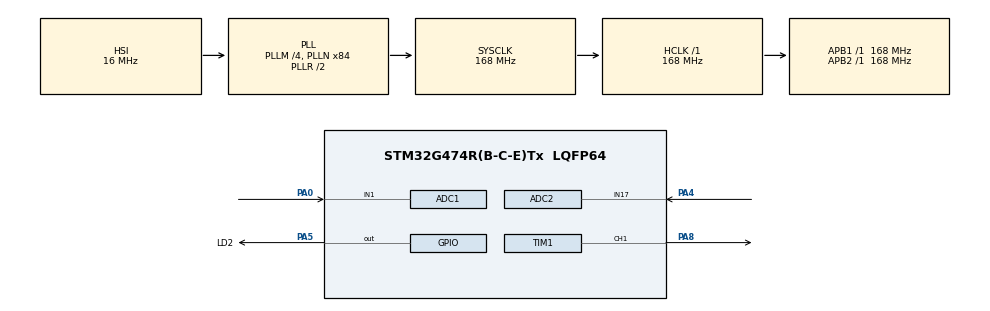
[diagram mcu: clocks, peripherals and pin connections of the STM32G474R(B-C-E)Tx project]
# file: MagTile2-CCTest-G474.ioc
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ADC1.Channel-0\#ChannelRegularConversion=ADC_CHANNEL_1
ADC1.ClockPrescaler=ADC_CLOCK_ASYNC_DIV1
ADC1.ContinuousConvMode=DISABLE
ADC1.DMAContinuousRequests=DISABLE
ADC1.EnableInjectedConversion=DISABLE
ADC1.ExternalTrigConv=ADC_EXTERNALTRIG_T3_TRGO
ADC1.NbrOfConversion=1
ADC1.NbrOfConversionFlag=1
ADC1.OffsetNumber-0\#ChannelRegularConversion=ADC_OFFSET_NONE
ADC1.Overrun=ADC_OVR_DATA_OVERWRITTEN
ADC1.OversamplingMode=ENABLE
ADC1.Rank-0\#ChannelRegularConversion=1
ADC1.Ratio=ADC_OVERSAMPLING_RATIO_256
ADC1.RightBitShift=ADC_RIGHTBITSHIFT_4
ADC1.SamplingTime-0\#ChannelRegularConversion=ADC_SAMPLETIME_247CYCLES_5
ADC1.master=1
ADC2.Channel-1\#ChannelRegularConversion=ADC_CHANNEL_17
ADC2.ClockPrescaler=ADC_CLOCK_ASYNC_DIV1
ADC2.NbrOfConversion=1
ADC2.NbrOfConversionFlag=1
ADC2.OffsetNumber-1\#ChannelRegularConversion=ADC_OFFSET_NONE
ADC2.OversamplingMode=ENABLE
ADC2.Rank-1\#ChannelRegularConversion=1
ADC2.Ratio=ADC_OVERSAMPLING_RATIO_256
ADC2.RightBitShift=ADC_RIGHTBITSHIFT_4
ADC2.SamplingTime-1\#ChannelRegularConversion=ADC_SAMPLETIME_640CYCLES_5
Mcu.Family=STM32G4
Mcu.Name=STM32G474R(B-C-E)Tx
Mcu.Package=LQFP64
NUCLEO-G474RE.BUTTON=1
NUCLEO-G474RE.LD2=true
NUCLEO-G474RE.VCP=true
NVIC.ADC1_2_IRQn=true\:0\:0\:false\:false\:true\:true\:true\:true
NVIC.PriorityGroup=NVIC_PRIORITYGROUP_4
NVIC.TIM6_DAC_IRQn=true\:0\:0\:false\:false\:true\:true\:true\:true
PA0.Mode=IN1-Single-Ended
PA0.Signal=ADC1_IN1
PA13.GPIO_Label=T_SWDIO
PA13.Signal=SYS_JTMS-SWDIO
PA14.GPIO_Label=T_SWCLK
PA14.Signal=SYS_JTCK-SWCLK
PA4.Mode=IN17-Single-Ended
PA4.Signal=ADC2_IN17
PA5.GPIO_Label=LD2
PA5.Signal=GPIO_Output
PA8.Signal=S_TIM1_CH1
PB3.GPIO_Label=T_SWO
PB3.Signal=SYS_JTDO-SWO
PC14-OSC32_IN.GPIO_Label=RCC_OSC32_IN
PC14-OSC32_IN.Signal=RCC_OSC32_IN
PC15-OSC32_OUT.GPIO_Label=RCC_OSC32_OUT
PC15-OSC32_OUT.Signal=RCC_OSC32_OUT
PF0-OSC_IN.GPIO_Label=RCC_OSC_IN
PF0-OSC_IN.Signal=RCC_OSC_IN
PF1-OSC_OUT.GPIO_Label=RCC_OSC_OUT
PF1-OSC_OUT.Signal=RCC_OSC_OUT
ProjectManager.HeapSize=0x200
ProjectManager.StackSize=0x400
ProjectManager.TargetToolchain=STM32CubeIDE
RCC.ADC12CLockSelection=RCC_ADC12CLKSOURCE_PLL
RCC.ADC12Freq_Value=56000000
RCC.ADC345Freq_Value=168000000
RCC.AHBFreq_Value=168000000
RCC.APB1Freq_Value=168000000
RCC.APB1TimFreq_Value=168000000
RCC.APB2Freq_Value=168000000
RCC.APB2TimFreq_Value=168000000
RCC.CortexFreq_Value=168000000
RCC.EXTERNAL_CLOCK_VALUE=12288000
RCC.HCLKFreq_Value=168000000
RCC.HSE_VALUE=24000000
RCC.HSI48_VALUE=48000000
RCC.HSI_VALUE=16000000
RCC.LSE_VALUE=32768
RCC.PLLM=RCC_PLLM_DIV4
RCC.PLLN=84
RCC.PLLP=RCC_PLLP_DIV6
RCC.RTCClockSelection=RCC_RTCCLKSOURCE_LSE
RCC.SYSCLKFreq_VALUE=168000000
RCC.SYSCLKSource=RCC_SYSCLKSOURCE_PLLCLK
RCC.USBFreq_Value=168000000
RCC.VCOOutputFreq_Value=336000000
SH.S_TIM1_CH1.0=TIM1_CH1,PWM Generation1 CH1
TIM1.Channel-PWM\ Generation1\ CH1=TIM_CHANNEL_1
TIM1.OCFastMode_PWM-PWM\ Generation1\ CH1=TIM_OCFAST_ENABLE
TIM1.PeriodNoDither=1600
TIM1.Prescaler=0
TIM1.PulseNoDither_1=10
TIM3.PeriodNoDither=100
TIM3.Prescaler=168
TIM3.TIM_MasterOutputTrigger=TIM_TRGO_UPDATE
TIM4.PeriodNoDither=1000
TIM4.Prescaler=168
TIM4.TIM_MasterOutputTrigger=TIM_TRGO_UPDATE
TIM6.PeriodNoDither=10000
TIM6.Prescaler=1680
TIM6.TIM_MasterOutputTrigger=TIM_TRGO_UPDATE
VP_SYS_VS_DBSignals.Mode=DisableDeadBatterySignals
VP_TIM1_VS_ClockSourceINT.Mode=Internal
VP_TIM3_VS_ClockSourceINT.Mode=Internal
VP_TIM4_VS_ClockSourceINT.Mode=Internal
VP_TIM6_VS_ClockSourceINT.Mode=Enable_Timer
board=NUCLEO-G474RE

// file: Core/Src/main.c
/* USER CODE BEGIN Header */
/**
  ******************************************************************************
  * @file           : main.c
  * @brief          : Main program body
  ******************************************************************************
  * @attention
  *
  * Copyright (c) 2025 STMicroelectronics.
  * All rights reserved.
  *
  * This software is licensed under terms that can be found in the LICENSE file
  * in the root directory of this software component.
  * If no LICENSE file comes with this software, it is provided AS-IS.
  *
  ******************************************************************************
  */
/* USER CODE END Header */
#include "main.h"

/* USER CODE BEGIN PD */
//#define ADC_OVERSAMPLE 50
//#define ADC_BUFFER_SIZE 2*ADC_OVERSAMPLE
#define PID_I_CLAMP 0.1f
/* USER CODE END PD */

ADC_HandleTypeDef hadc1;
ADC_HandleTypeDef hadc2;

TIM_HandleTypeDef htim1;
TIM_HandleTypeDef htim3;
TIM_HandleTypeDef htim4;
TIM_HandleTypeDef htim6;

/* USER CODE BEGIN PV */

//volatile uint16_t adc_buffer[ADC_BUFFER_SIZE];
//float averaged_result;
float current_reading;
float opamp_output;
float current_setpoint = 0.190f;
uint8_t ctrl_out = 0;
volatile uint32_t adc_sample;
volatile uint32_t temp_adc_sample;
volatile float temp_adc_voltage;
volatile float temp_value;

float pid_error = 0;
float pid_error_integral = 0;
float pid_pwm_change = 0;
float pid_pwm_output = 0;

float Kp = 0.1f;
float Ki = 0.0035f;

/* USER CODE END PV */

void SystemClock_Config(void);
static void MX_GPIO_Init(void);
static void MX_ADC1_Init(void);
static void MX_TIM3_Init(void);
static void MX_TIM1_Init(void);
static void MX_TIM4_Init(void);
static void MX_ADC2_Init(void);
static void MX_TIM6_Init(void);

int main(void)
{

  /* MCU Configuration--------------------------------------------------------*/

  /* Reset of all peripherals, Initializes the Flash interface and the Systick. */
  HAL_Init();

  /* Configure the system clock */
  SystemClock_Config();

  /* Initialize all configured peripherals */
  MX_GPIO_Init();
  MX_ADC1_Init();
  MX_TIM3_Init();
  MX_TIM1_Init();
  MX_TIM4_Init();
  MX_ADC2_Init();
  MX_TIM6_Init();
  /* USER CODE BEGIN 2 */

//  HAL_ADC_Start_DMA(&hadc1, (uint32_t*)adc_buffer, ADC_BUFFER_SIZE);
  HAL_ADCEx_Calibration_Start(&hadc1, ADC_SINGLE_ENDED);
  HAL_ADCEx_Calibration_Start(&hadc2, ADC_SINGLE_ENDED);
  HAL_ADC_Start_IT(&hadc1);
  HAL_ADC_Start(&hadc2);
  HAL_TIM_Base_Start(&htim3);
  HAL_TIM_Base_Start_IT(&htim6);
  HAL_TIM_PWM_Start(&htim1, TIM_CHANNEL_1);

  /* USER CODE END 2 */

  /* Infinite loop */
  while (1)
  {

  }
}

void SystemClock_Config(void)
{
  RCC_OscInitTypeDef RCC_OscInitStruct = {0};
  RCC_ClkInitTypeDef RCC_ClkInitStruct = {0};

  /** Configure the main internal regulator output voltage
  */
  HAL_PWREx_ControlVoltageScaling(PWR_REGULATOR_VOLTAGE_SCALE1_BOOST);

  /** Initializes the RCC Oscillators according to the specified parameters
  * in the RCC_OscInitTypeDef structure.
  */
  RCC_OscInitStruct.OscillatorType = RCC_OSCILLATORTYPE_HSI;
  RCC_OscInitStruct.HSIState = RCC_HSI_ON;
  RCC_OscInitStruct.HSICalibrationValue = RCC_HSICALIBRATION_DEFAULT;
  RCC_OscInitStruct.PLL.PLLState = RCC_PLL_ON;
  RCC_OscInitStruct.PLL.PLLSource = RCC_PLLSOURCE_HSI;
  RCC_OscInitStruct.PLL.PLLM = RCC_PLLM_DIV4;
  RCC_OscInitStruct.PLL.PLLN = 84;
  RCC_OscInitStruct.PLL.PLLP = RCC_PLLP_DIV6;
  RCC_OscInitStruct.PLL.PLLQ = RCC_PLLQ_DIV2;
  RCC_OscInitStruct.PLL.PLLR = RCC_PLLR_DIV2;
  if (HAL_RCC_OscConfig(&RCC_OscInitStruct) != HAL_OK)
  {
    Error_Handler();
  }

  /** Initializes the CPU, AHB and APB buses clocks
  */
  RCC_ClkInitStruct.ClockType = RCC_CLOCKTYPE_HCLK|RCC_CLOCKTYPE_SYSCLK
                              |RCC_CLOCKTYPE_PCLK1|RCC_CLOCKTYPE_PCLK2;
  RCC_ClkInitStruct.SYSCLKSource = RCC_SYSCLKSOURCE_PLLCLK;
  RCC_ClkInitStruct.AHBCLKDivider = RCC_SYSCLK_DIV1;
  RCC_ClkInitStruct.APB1CLKDivider = RCC_HCLK_DIV1;
  RCC_ClkInitStruct.APB2CLKDivider = RCC_HCLK_DIV1;

  if (HAL_RCC_ClockConfig(&RCC_ClkInitStruct, FLASH_LATENCY_4) != HAL_OK)
  {
    Error_Handler();
  }
}

static void MX_ADC1_Init(void)
{

  ADC_MultiModeTypeDef multimode = {0};
  ADC_ChannelConfTypeDef sConfig = {0};

  /** Common config
  */
  hadc1.Instance = ADC1;
  hadc1.Init.ClockPrescaler = ADC_CLOCK_ASYNC_DIV1;
  hadc1.Init.Resolution = ADC_RESOLUTION_12B;
  hadc1.Init.DataAlign = ADC_DATAALIGN_RIGHT;
  hadc1.Init.GainCompensation = 0;
  hadc1.Init.ScanConvMode = ADC_SCAN_DISABLE;
  hadc1.Init.EOCSelection = ADC_EOC_SINGLE_CONV;
  hadc1.Init.LowPowerAutoWait = DISABLE;
  hadc1.Init.ContinuousConvMode = DISABLE;
  hadc1.Init.NbrOfConversion = 1;
  hadc1.Init.DiscontinuousConvMode = DISABLE;
  hadc1.Init.ExternalTrigConv = ADC_EXTERNALTRIG_T3_TRGO;
  hadc1.Init.ExternalTrigConvEdge = ADC_EXTERNALTRIGCONVEDGE_RISING;
  hadc1.Init.DMAContinuousRequests = DISABLE;
  hadc1.Init.Overrun = ADC_OVR_DATA_OVERWRITTEN;
  hadc1.Init.OversamplingMode = ENABLE;
  hadc1.Init.Oversampling.Ratio = ADC_OVERSAMPLING_RATIO_256;
  hadc1.Init.Oversampling.RightBitShift = ADC_RIGHTBITSHIFT_4;
  hadc1.Init.Oversampling.TriggeredMode = ADC_TRIGGEREDMODE_SINGLE_TRIGGER;
  hadc1.Init.Oversampling.OversamplingStopReset = ADC_REGOVERSAMPLING_CONTINUED_MODE;
  if (HAL_ADC_Init(&hadc1) != HAL_OK)
  {
    Error_Handler();
  }

  /** Configure the ADC multi-mode
  */
  multimode.Mode = ADC_MODE_INDEPENDENT;
  if (HAL_ADCEx_MultiModeConfigChannel(&hadc1, &multimode) != HAL_OK)
  {
    Error_Handler();
  }

  /** Configure Regular Channel
  */
  sConfig.Channel = ADC_CHANNEL_1;
  sConfig.Rank = ADC_REGULAR_RANK_1;
  sConfig.SamplingTime = ADC_SAMPLETIME_247CYCLES_5;
  sConfig.SingleDiff = ADC_SINGLE_ENDED;
  sConfig.OffsetNumber = ADC_OFFSET_NONE;
  sConfig.Offset = 0;
  if (HAL_ADC_ConfigChannel(&hadc1, &sConfig) != HAL_OK)
  {
    Error_Handler();
  }

}

static void MX_ADC2_Init(void)
{

  ADC_ChannelConfTypeDef sConfig = {0};

  /** Common config
  */
  hadc2.Instance = ADC2;
  hadc2.Init.ClockPrescaler = ADC_CLOCK_ASYNC_DIV1;
  hadc2.Init.Resolution = ADC_RESOLUTION_12B;
  hadc2.Init.DataAlign = ADC_DATAALIGN_RIGHT;
  hadc2.Init.GainCompensation = 0;
  hadc2.Init.ScanConvMode = ADC_SCAN_DISABLE;
  hadc2.Init.EOCSelection = ADC_EOC_SINGLE_CONV;
  hadc2.Init.LowPowerAutoWait = DISABLE;
  hadc2.Init.ContinuousConvMode = DISABLE;
  hadc2.Init.NbrOfConversion = 1;
  hadc2.Init.DiscontinuousConvMode = DISABLE;
  hadc2.Init.ExternalTrigConv = ADC_SOFTWARE_START;
  hadc2.Init.ExternalTrigConvEdge = ADC_EXTERNALTRIGCONVEDGE_NONE;
  hadc2.Init.DMAContinuousRequests = DISABLE;
  hadc2.Init.Overrun = ADC_OVR_DATA_PRESERVED;
  hadc2.Init.OversamplingMode = ENABLE;
  hadc2.Init.Oversampling.Ratio = ADC_OVERSAMPLING_RATIO_256;
  hadc2.Init.Oversampling.RightBitShift = ADC_RIGHTBITSHIFT_4;
  hadc2.Init.Oversampling.TriggeredMode = ADC_TRIGGEREDMODE_SINGLE_TRIGGER;
  hadc2.Init.Oversampling.OversamplingStopReset = ADC_REGOVERSAMPLING_CONTINUED_MODE;
  if (HAL_ADC_Init(&hadc2) != HAL_OK)
  {
    Error_Handler();
  }

  /** Configure Regular Channel
  */
  sConfig.Channel = ADC_CHANNEL_17;
  sConfig.Rank = ADC_REGULAR_RANK_1;
  sConfig.SamplingTime = ADC_SAMPLETIME_640CYCLES_5;
  sConfig.SingleDiff = ADC_SINGLE_ENDED;
  sConfig.OffsetNumber = ADC_OFFSET_NONE;
  sConfig.Offset = 0;
  if (HAL_ADC_ConfigChannel(&hadc2, &sConfig) != HAL_OK)
  {
    Error_Handler();
  }

}

static void MX_TIM1_Init(void)
{

  TIM_ClockConfigTypeDef sClockSourceConfig = {0};
  TIM_MasterConfigTypeDef sMasterConfig = {0};
  TIM_OC_InitTypeDef sConfigOC = {0};
  TIM_BreakDeadTimeConfigTypeDef sBreakDeadTimeConfig = {0};

  htim1.Instance = TIM1;
  htim1.Init.Prescaler = 0;
  htim1.Init.CounterMode = TIM_COUNTERMODE_UP;
  htim1.Init.Period = 1600;
  htim1.Init.ClockDivision = TIM_CLOCKDIVISION_DIV1;
  htim1.Init.RepetitionCounter = 0;
  htim1.Init.AutoReloadPreload = TIM_AUTORELOAD_PRELOAD_DISABLE;
  if (HAL_TIM_Base_Init(&htim1) != HAL_OK)
  {
    Error_Handler();
  }
  sClockSourceConfig.ClockSource = TIM_CLOCKSOURCE_INTERNAL;
  if (HAL_TIM_ConfigClockSource(&htim1, &sClockSourceConfig) != HAL_OK)
  {
    Error_Handler();
  }
  if (HAL_TIM_PWM_Init(&htim1) != HAL_OK)
  {
    Error_Handler();
  }
  sMasterConfig.MasterOutputTrigger = TIM_TRGO_RESET;
  sMasterConfig.MasterOutputTrigger2 = TIM_TRGO2_RESET;
  sMasterConfig.MasterSlaveMode = TIM_MASTERSLAVEMODE_DISABLE;
  if (HAL_TIMEx_MasterConfigSynchronization(&htim1, &sMasterConfig) != HAL_OK)
  {
    Error_Handler();
  }
  sConfigOC.OCMode = TIM_OCMODE_PWM1;
  sConfigOC.Pulse = 10;
  sConfigOC.OCPolarity = TIM_OCPOLARITY_HIGH;
  sConfigOC.OCNPolarity = TIM_OCNPOLARITY_HIGH;
  sConfigOC.OCFastMode = TIM_OCFAST_ENABLE;
  sConfigOC.OCIdleState = TIM_OCIDLESTATE_RESET;
  sConfigOC.OCNIdleState = TIM_OCNIDLESTATE_RESET;
  if (HAL_TIM_PWM_ConfigChannel(&htim1, &sConfigOC, TIM_CHANNEL_1) != HAL_OK)
  {
    Error_Handler();
  }
  sBreakDeadTimeConfig.OffStateRunMode = TIM_OSSR_DISABLE;
  sBreakDeadTimeConfig.OffStateIDLEMode = TIM_OSSI_DISABLE;
  sBreakDeadTimeConfig.LockLevel = TIM_LOCKLEVEL_OFF;
  sBreakDeadTimeConfig.DeadTime = 0;
  sBreakDeadTimeConfig.BreakState = TIM_BREAK_DISABLE;
  sBreakDeadTimeConfig.BreakPolarity = TIM_BREAKPOLARITY_HIGH;
  sBreakDeadTimeConfig.BreakFilter = 0;
  sBreakDeadTimeConfig.BreakAFMode = TIM_BREAK_AFMODE_INPUT;
  sBreakDeadTimeConfig.Break2State = TIM_BREAK2_DISABLE;
  sBreakDeadTimeConfig.Break2Polarity = TIM_BREAK2POLARITY_HIGH;
  sBreakDeadTimeConfig.Break2Filter = 0;
  sBreakDeadTimeConfig.Break2AFMode = TIM_BREAK_AFMODE_INPUT;
  sBreakDeadTimeConfig.AutomaticOutput = TIM_AUTOMATICOUTPUT_DISABLE;
  if (HAL_TIMEx_ConfigBreakDeadTime(&htim1, &sBreakDeadTimeConfig) != HAL_OK)
  {
    Error_Handler();
  }
  HAL_TIM_MspPostInit(&htim1);

}

static void MX_TIM3_Init(void)
{

  TIM_ClockConfigTypeDef sClockSourceConfig = {0};
  TIM_MasterConfigTypeDef sMasterConfig = {0};

  htim3.Instance = TIM3;
  htim3.Init.Prescaler = 168;
  htim3.Init.CounterMode = TIM_COUNTERMODE_UP;
  htim3.Init.Period = 100;
  htim3.Init.ClockDivision = TIM_CLOCKDIVISION_DIV1;
  htim3.Init.AutoReloadPreload = TIM_AUTORELOAD_PRELOAD_DISABLE;
  if (HAL_TIM_Base_Init(&htim3) != HAL_OK)
  {
    Error_Handler();
  }
  sClockSourceConfig.ClockSource = TIM_CLOCKSOURCE_INTERNAL;
  if (HAL_TIM_ConfigClockSource(&htim3, &sClockSourceConfig) != HAL_OK)
  {
    Error_Handler();
  }
  sMasterConfig.MasterOutputTrigger = TIM_TRGO_UPDATE;
  sMasterConfig.MasterSlaveMode = TIM_MASTERSLAVEMODE_DISABLE;
  if (HAL_TIMEx_MasterConfigSynchronization(&htim3, &sMasterConfig) != HAL_OK)
  {
    Error_Handler();
  }

}

static void MX_TIM4_Init(void)
{

  TIM_ClockConfigTypeDef sClockSourceConfig = {0};
  TIM_MasterConfigTypeDef sMasterConfig = {0};

  htim4.Instance = TIM4;
  htim4.Init.Prescaler = 168;
  htim4.Init.CounterMode = TIM_COUNTERMODE_UP;
  htim4.Init.Period = 1000;
  htim4.Init.ClockDivision = TIM_CLOCKDIVISION_DIV1;
  htim4.Init.AutoReloadPreload = TIM_AUTORELOAD_PRELOAD_DISABLE;
  if (HAL_TIM_Base_Init(&htim4) != HAL_OK)
  {
    Error_Handler();
  }
  sClockSourceConfig.ClockSource = TIM_CLOCKSOURCE_INTERNAL;
  if (HAL_TIM_ConfigClockSource(&htim4, &sClockSourceConfig) != HAL_OK)
  {
    Error_Handler();
  }
  sMasterConfig.MasterOutputTrigger = TIM_TRGO_UPDATE;
  sMasterConfig.MasterSlaveMode = TIM_MASTERSLAVEMODE_DISABLE;
  if (HAL_TIMEx_MasterConfigSynchronization(&htim4, &sMasterConfig) != HAL_OK)
  {
    Error_Handler();
  }

}

static void MX_TIM6_Init(void)
{

  TIM_MasterConfigTypeDef sMasterConfig = {0};

  htim6.Instance = TIM6;
  htim6.Init.Prescaler = 1680;
  htim6.Init.CounterMode = TIM_COUNTERMODE_UP;
  htim6.Init.Period = 10000;
  htim6.Init.AutoReloadPreload = TIM_AUTORELOAD_PRELOAD_DISABLE;
  if (HAL_TIM_Base_Init(&htim6) != HAL_OK)
  {
    Error_Handler();
  }
  sMasterConfig.MasterOutputTrigger = TIM_TRGO_UPDATE;
  sMasterConfig.MasterSlaveMode = TIM_MASTERSLAVEMODE_DISABLE;
  if (HAL_TIMEx_MasterConfigSynchronization(&htim6, &sMasterConfig) != HAL_OK)
  {
    Error_Handler();
  }

}

static void MX_GPIO_Init(void)
{
  GPIO_InitTypeDef GPIO_InitStruct = {0};

  /* GPIO Ports Clock Enable */
  __HAL_RCC_GPIOC_CLK_ENABLE();
  __HAL_RCC_GPIOF_CLK_ENABLE();
  __HAL_RCC_GPIOA_CLK_ENABLE();
  __HAL_RCC_GPIOB_CLK_ENABLE();

  /*Configure GPIO pin Output Level */
  HAL_GPIO_WritePin(LD2_GPIO_Port, LD2_Pin, GPIO_PIN_RESET);

  /*Configure GPIO pin : LD2_Pin */
  GPIO_InitStruct.Pin = LD2_Pin;
  GPIO_InitStruct.Mode = GPIO_MODE_OUTPUT_PP;
  GPIO_InitStruct.Pull = GPIO_NOPULL;
  GPIO_InitStruct.Speed = GPIO_SPEED_FREQ_LOW;
  HAL_GPIO_Init(LD2_GPIO_Port, &GPIO_InitStruct);

}

/* USER CODE BEGIN 4 */

void HAL_TIM_PeriodElapsedCallback(TIM_HandleTypeDef *htim) {
    if (htim->Instance == TIM6) {
        HAL_GPIO_TogglePin(LD2_GPIO_Port, LD2_Pin);
    	HAL_ADC_Start(&hadc2);
        HAL_ADC_PollForConversion(&hadc2, 5);
        temp_adc_sample = HAL_ADC_GetValue(&hadc2);
        temp_adc_voltage = (temp_adc_sample) / 65.535f * 3.261915f;
        temp_value = (temp_adc_voltage - 500.0f)/10.0f;
    }
}

void HAL_ADC_ConvCpltCallback(ADC_HandleTypeDef* hadc)
{
    adc_sample = HAL_ADC_GetValue(hadc);
//    HAL_GPIO_TogglePin(LD2_GPIO_Port, LD2_Pin);
    opamp_output = (float)adc_sample / 65535.0f * 3.261915f;
    current_reading = (opamp_output) / 0.12f * 0.962566f;//* 1.106593;
    ctrl_out = current_reading < current_setpoint;
    // set timer1 pwm to either 0 or 99 depending on ctrl_out
//	if (ctrl_out) {
//		TIM1->CCR1 = 99;
//	} else {
//		TIM1->CCR1 = 0;
//	}
//    HAL_GPIO_WritePin(LD2_GPIO_Port, LD2_Pin, ctrl_out);
    // implement PID control
	if (current_setpoint > 3 || current_reading > 3.2) {
		TIM1->CCR1 = 0;
		current_setpoint = 0;
		return;
	}
    pid_error = current_setpoint - current_reading;
    pid_error_integral += pid_error;
    // clamp integral to +- 10
	if (pid_error_integral > PID_I_CLAMP) {
		pid_error_integral = PID_I_CLAMP;
	} else if (pid_error_integral < -PID_I_CLAMP) {
		pid_error_integral = -PID_I_CLAMP;
	}
    pid_pwm_change = Kp * pid_error + Ki * pid_error_integral;
    pid_pwm_output += pid_pwm_change;
	if (pid_pwm_output >= 0.98f) {
		pid_pwm_output = 0.98f;
	} else if (pid_pwm_output < 0.0f) {
		pid_pwm_output = 0.0f;
	}
    TIM1->CCR1 = pid_pwm_output*1600.0f;
}

/* USER CODE END 4 */

void Error_Handler(void)
{
  __disable_irq();
  while (1)
  {
  }
}
